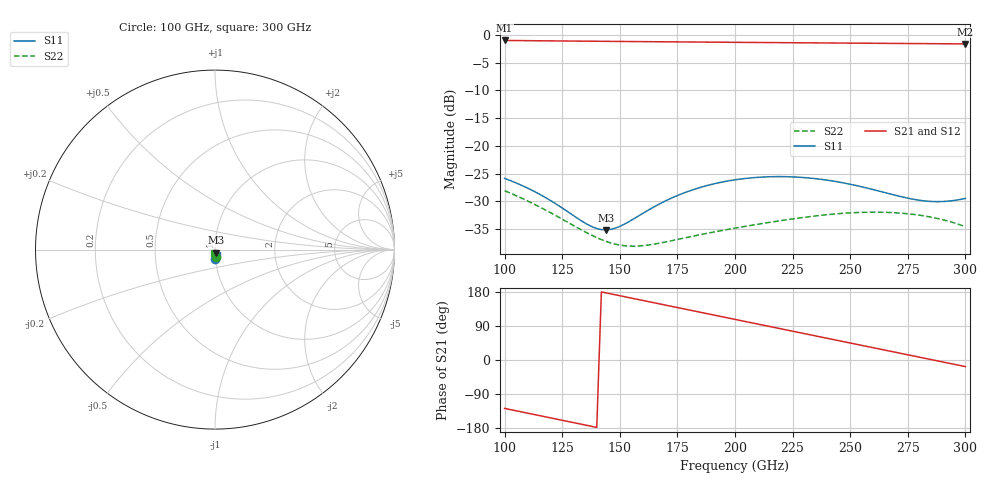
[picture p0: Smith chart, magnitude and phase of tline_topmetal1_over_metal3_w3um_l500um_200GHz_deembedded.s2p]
! Created with skrf 2.0.1 (http://scikit-rf.org).
# GHz S DB R 50.0
!freq dBS11 angS11 dBS21 angS21 dBS12 angS12 dBS22 angS22
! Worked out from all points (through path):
!   101 points, 100 GHz to 300 GHz, reference 50 ohm
!   highest |S21| = -0.96 dB at 100 GHz (marker M1); lowest = -1.6 dB at 300 GHz (marker M2)
!   group delay of S21, straight-line fit = 3.47 ps
!   lowest |S11| = -35.2 dB at 144 GHz (marker M3), VSWR 1.04, Z = 50.6 - j1.66 ohm
!   |S11| at or under -10 dB: start of sweep to end of sweep
!   |S22| runs from -38.1 to -28.1 dB; largest |S21 - S12| = 1.5e-13
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100  -25.88 -90.3  -0.96 -127.7  -0.96 -127.7  -28.10 -80.3
110  -27.63 -97.4  -1.00 -140.3  -1.00 -140.3  -29.95 -85.7
118  -29.39 -100.7  -1.03 -150.3  -1.03 -150.3  -31.64 -88.0
126  -31.49 -100.1  -1.06 -160.3  -1.06 -160.3  -33.46 -87.8
134  -33.71 -92.5  -1.09 -170.4  -1.09 -170.4  -35.32 -84.1
140  -34.92 -80.6  -1.11 -177.9  -1.11 -177.9  -36.57 -78.6
144  -35.17 -70.6  -1.12 177.1  -1.12 177.1  -37.24 -73.7
148  -34.86 -60.9  -1.14 172.1  -1.14 172.1  -37.74 -68.2
154  -33.68 -50.0  -1.16 164.6  -1.16 164.6  -38.09 -59.4
168  -30.32 -42.6  -1.20 147.1  -1.20 147.1  -37.50 -43.5
184  -27.62 -48.9  -1.25 127.2  -1.25 127.2  -36.11 -35.7
200  -26.13 -59.9  -1.30 107.2  -1.30 107.2  -34.85 -34.3
208  -25.74 -65.9  -1.33 97.2  -1.33 97.2  -34.29 -34.9
216  -25.56 -71.9  -1.35 87.2  -1.35 87.2  -33.75 -36.4
224  -25.59 -77.6  -1.37 77.3  -1.37 77.3  -33.25 -38.8
234  -25.88 -84.2  -1.40 64.8  -1.40 64.8  -32.70 -43.0
242  -26.32 -88.6  -1.42 54.8  -1.42 54.8  -32.34 -47.3
252  -27.11 -92.6  -1.45 42.4  -1.45 42.4  -32.05 -53.9
268  -28.75 -93.2  -1.50 22.4  -1.50 22.4  -32.04 -66.7
284  -30.00 -84.0  -1.54 2.5  -1.54 2.5  -32.78 -82.2
292  -30.00 -76.9  -1.56 -7.4  -1.56 -7.4  -33.53 -90.8
300  -29.48 -70.6  -1.58 -17.4  -1.58 -17.4  -34.61 -100.0
